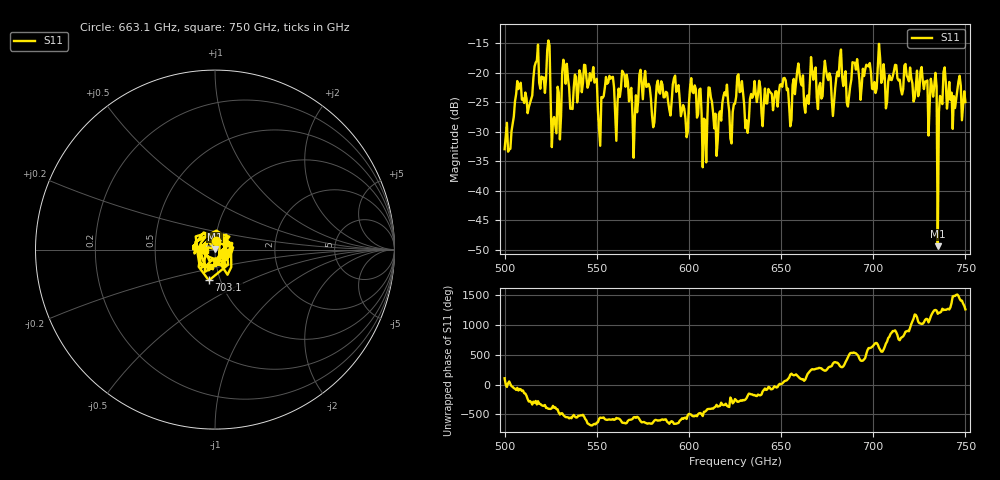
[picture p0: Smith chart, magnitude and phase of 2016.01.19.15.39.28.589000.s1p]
!Created with skrf (http://scikit-rf.org).
# GHz S RI R 50.0
!freq ReS11 ImS11
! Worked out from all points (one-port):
!   401 points, 500 GHz to 750 GHz, reference 50 ohm
!   lowest |S11| = -49.4 dB at 735 GHz (marker M1), VSWR 1.01, Z = 49.9 + j0.32 ohm
!   |S11| at or under -10 dB: start of sweep to end of sweep
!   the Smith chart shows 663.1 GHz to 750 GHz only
!   S11 on the Smith chart (normalised r, x): 663.1 GHz: 1.00, +0.09; 703.1 GHz: 0.88, -0.31; 750 GHz: 0.89, -0.01
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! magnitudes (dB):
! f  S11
! 500 GHz  -33.0
! 507.5 GHz  -22.8
! 513.8 GHz  -25.2
! 516.9 GHz  -18.3
! 523.8 GHz  -14.6
! 526.9 GHz  -27.5
! 531.2 GHz  -20.0
! 551.9 GHz  -32.4
! 562.5 GHz  -24.1
! 570.6 GHz  -27.7
! 574.4 GHz  -22.1
! 580.6 GHz  -29.3
! 593.8 GHz  -22.5
! 598.1 GHz  -27.8
! 602.5 GHz  -23.5
! 608.8 GHz  -28.0
! 611.2 GHz  -22.6
! 615 GHz  -34.1
! 625 GHz  -25.3
! 656.2 GHz  -22.1
! 663.1 GHz  -26.8
! 687.5 GHz  -22.3
! 703.1 GHz  -15.1
! 718.8 GHz  -20.9
! 733.1 GHz  -22.2
! 735 GHz  -49.4
! 738.1 GHz  -19.9
! 750 GHz  -25.0
